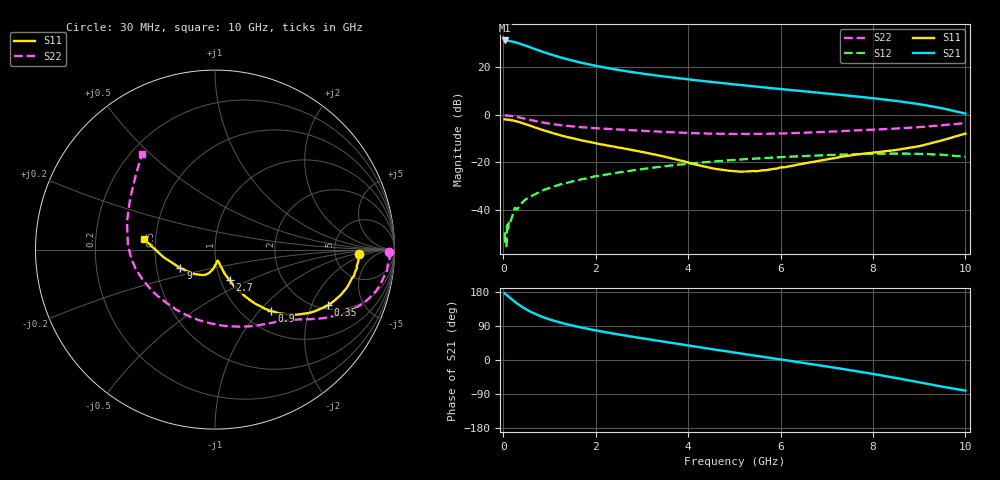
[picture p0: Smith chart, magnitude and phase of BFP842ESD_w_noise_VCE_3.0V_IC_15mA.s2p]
! Infineon Technologies  Discrete & RF Semiconductors
! BFP842ESD
! VCE =  3.0 V,  IC =  15 mA
! Common Emitter S-Parameters:  May 2012
# GHz  S  MA  R  50
!  f  S11  S21  S12  S22
! GHz  MAG  ANG  MAG  ANG  MAG  ANG  MAG  ANG
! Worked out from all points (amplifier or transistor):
!   99 points, 30 MHz to 10 GHz, reference 50 ohm
!   highest |S21| = 31.4 dB at 30 MHz (marker M1)
!   |S21| within 3 dB of that: start of sweep to 596.7 MHz
!   unconditionally stable (mu >= 1): 2.543 GHz to end of sweep
!   at 350 MHz: K = 0.42, MSG = 34.3 dB, |S12| = -38.5 dB
!   at 3.5 GHz: K = 1.05, MAG = 17.6 dB, |S12| = -21.7 dB
!   at 10 GHz: K = 1.72, MAG = 4.2 dB, |S12| = -17.7 dB
!   lowest NFmin = 0.71 dB at 450 MHz
!   S11 on the Smith chart (normalised r, x): 30 MHz: 9.06, -1.30; 350 MHz: 2.17, -2.67; 900 MHz: 1.34, -1.17; 2.7 GHz: 1.10, -0.39; 9 GHz: 0.66, -0.14; 10 GHz: 0.43, +0.06
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0.03  0.8048 -1.8  37.15 175.9  0.0033 77.4  0.9705 -0.7
0.05  0.801 -3.4  36.64 173.5  0.0025 96.2  0.9703 -2.2
0.06  0.8011 -4.6  37.13 172.6  0.0024 127.2  0.9762 -2.7
0.09  0.7977 -7.1  36.18 169.9  0.0038 45.9  0.967 -4.8
0.11  0.7907 -8.8  36.6 167.5  0.0041 52.7  0.9665 -6.3
0.2  0.7657 -15.9  35.08 158.8  0.0075 74.1  0.9421 -11.9
0.25  0.7463 -19.6  34.29 153.9  0.011 74.6  0.925 -14.6
0.35  0.7031 -26.2  32.05 145.0  0.0119 71.1  0.8837 -19.5
0.5  0.6293 -34.2  28.54 133.4  0.0168 68.2  0.8164 -25.2
0.6  0.5833 -38.4  26.23 126.9  0.019 67.0  0.7753 -28.1
0.8  0.5005 -45.0  22.34 116.0  0.0242 63.6  0.7077 -32.8
0.9  0.4649 -47.4  20.69 111.5  0.0265 62.5  0.6792 -34.6
1.2  0.3804 -53.1  16.75 100.0  0.0333 60.5  0.6145 -39.2
1.7  0.2891 -58.3  12.54 85.5  0.0441 56.1  0.5488 -46.1
2.1  0.2406 -61.5  10.39 75.9  0.0523 52.6  0.5166 -52.2
2.7  0.1882 -64.5  8.234 63.3  0.0648 46.8  0.4797 -61.9
3.4  0.1375 -68.6  6.619 49.8  0.08 38.6  0.4414 -75.8
5.1  0.0636 -75.9  4.303 17.9  0.1139 16.2  0.3966 -116.6
6.7  0.1018 -94.0  3.019 -11.5  0.138 -6.6  0.4269 -152.6
8.5  0.1818 -132.1  1.971 -47.5  0.1524 -38.2  0.5142 162.5
9  0.2187 -151.7  1.686 -58.8  0.151 -48.4  0.5516 149.0
10  0.4028 171.4  1.066 -80.7  0.1307 -70.4  0.6705 127.4
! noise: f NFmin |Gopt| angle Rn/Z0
0.45  0.71  0.03  -24  0.09
0.9  0.71  0.02  -61  0.08
1.5  0.73  0.03  -97  0.08
1.9  0.73  0.04  -116  0.08
2.4  0.73  0.06  -122  0.08
3.5  0.8  0.08  -128  0.08
4  0.83  0.09  -124  0.09
5  0.9  0.13  -112  0.09
5.5  1.01  0.15  -109  0.1
6  1.11  0.15  -106  0.11
